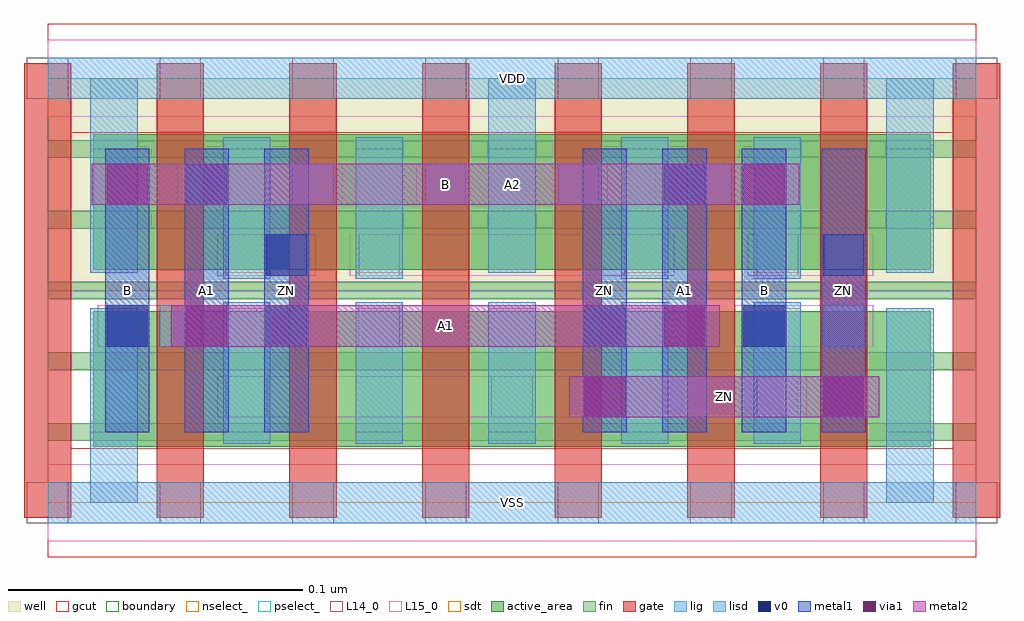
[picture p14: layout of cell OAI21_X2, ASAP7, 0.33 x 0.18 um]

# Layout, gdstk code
import gdstk
lib = gdstk.Library(unit=1e-6, precision=2.5e-10)
def R(c, l, rs):  # rectangles x0, y0, x1, y1
    for r in rs: c.add(gdstk.rectangle(r[:2], r[2:], *l))
def A(c, l, x, y, w, h, nx, ny, dx, dy):  # array of equal rectangles
    R(c, l, [(x+i*dx, y+j*dy, x+i*dx+w, y+j*dy+h) for i in range(nx) for j in range(ny)])
well = (1, 0)
fin = (2, 0)
gate = (7, 0)
gcut = (10, 0)
active_area = (11, 0)
nselect_ = (12, 0)
pselect_ = (13, 0)
L14_0 = (14, 0)
L15_0 = (15, 0)
lig = (16, 0)
lisd = (17, 0)
v0 = (18, 0)
metal1 = (19, 0)
metal2 = (20, 0)
via1 = (21, 0)
sdt = (88, 0)
boundary = (100, 0)

oai21_x2 = lib.new_cell('OAI21_X2')
R(oai21_x2, well, [(0,0.072,0.315,0.144)])
A(oai21_x2, fin, 0, 0.021, 0.315, 0.006, 1, 5, 0, 0.024)
A(oai21_x2, gate, -0.008, -0.005, 0.016, 0.154, 8, 1, 0.045, 0)
R(oai21_x2, gcut, [(0,-0.0185,0.315,0.0185), (-0.008,-0.005,0.008,0.149), (0.307,-0.005,0.323,0.149), (0,0.1255,0.315,0.1625)])
A(oai21_x2, active_area, 0.0155, 0.019, 0.059, 0.046, 6, 2, 0.045, 0.06)
R(oai21_x2, nselect_, [(0,0,0.315,0.072)])
R(oai21_x2, pselect_, [(0,0.072,0.315,0.144)])
A(oai21_x2, L14_0, -0.007, -0.007, 0.014, 0.014, 8, 2, 0.045, 0.144)
A(oai21_x2, L14_0, 0.0605, 0.029, 0.014, 0.014, 3, 1, 0.09, 0)
A(oai21_x2, L14_0, 0.083, 0.101, 0.014, 0.014, 4, 1, 0.045, 0)
R(oai21_x2, L14_0, [(0.038,0.053,0.052,0.067), (0.1055,0.053,0.1195,0.067), (0.1955,0.053,0.2095,0.067), (0.263,0.053,0.277,0.067), (0.0605,0.077,0.0745,0.091), (0.1055,0.077,0.1195,0.091), (0.1955,0.077,0.2095,0.091), (0.2405,0.077,0.2545,0.091)])
R(oai21_x2, L15_0, [(0,-0.013,0.315,0.013), (0.0575,0.029,0.2575,0.043), (0.017,0.053,0.055,0.067), (0.071,0.053,0.2125,0.067), (0.233,0.053,0.28,0.067), (0.0575,0.077,0.091,0.091), (0.1025,0.077,0.2125,0.091), (0.2375,0.077,0.28,0.091), (0.044,0.101,0.1,0.115), (0.125,0.101,0.19,0.115), (0.206,0.101,0.253,0.115), (0,0.131,0.315,0.157)])
A(oai21_x2, lig, 0.083, 0.101, 0.014, 0.014, 4, 1, 0.045, 0)
R(oai21_x2, lig, [(0,-0.007,0.315,0.007), (0.038,0.053,0.052,0.067), (0.263,0.053,0.277,0.067), (0,0.137,0.315,0.151)])
R(oai21_x2, lisd, [(0.0145,0,0.0305,0.066), (0.2845,0,0.3005,0.066), (0.0595,0.02,0.0755,0.068), (0.0595,0.02,0.0755,0.068), (0.1045,0.02,0.1205,0.068), (0.1045,0.02,0.1205,0.068), (0.1495,0.02,0.1655,0.068), (0.1495,0.02,0.1655,0.068), (0.1945,0.02,0.2105,0.068), (0.1945,0.02,0.2105,0.068), (0.2395,0.02,0.2555,0.068), (0.2395,0.02,0.2555,0.068), (0.0595,0.076,0.0755,0.124), (0.0595,0.076,0.0755,0.124), (0.1045,0.076,0.1205,0.124), (0.1045,0.076,0.1205,0.124), (0.1945,0.076,0.2105,0.124), (0.1945,0.076,0.2105,0.124), (0.2395,0.076,0.2555,0.124), (0.2395,0.076,0.2555,0.124), (0.0145,0.078,0.0305,0.144), (0.1495,0.078,0.1655,0.144), (0.1495,0.078,0.1655,0.144), (0.2845,0.078,0.3005,0.144)])
R(oai21_x2, v0, [(0.02,0.053,0.034,0.067), (0.074,0.053,0.088,0.067), (0.182,0.053,0.196,0.067), (0.236,0.053,0.25,0.067), (0.074,0.077,0.088,0.091), (0.263,0.077,0.277,0.091), (0.047,0.101,0.061,0.115), (0.209,0.101,0.223,0.115)])
A(oai21_x2, metal1, 0.0195, 0.024, 0.015, 0.096, 3, 1, 0.027, 0)
A(oai21_x2, metal1, 0.1815, 0.024, 0.015, 0.096, 4, 1, 0.027, 0)
R(oai21_x2, metal2, [(0.177,0.029,0.282,0.043), (0.042,0.053,0.228,0.067), (0.015,0.101,0.255,0.115)])
R(oai21_x2, via1, [(0.182,0.029,0.196,0.043), (0.263,0.029,0.277,0.043), (0.047,0.053,0.061,0.067), (0.209,0.053,0.223,0.067), (0.02,0.101,0.034,0.115), (0.236,0.101,0.25,0.115)])
R(oai21_x2, sdt, [(0.0145,0.024,0.0305,0.066), (0.0595,0.024,0.0755,0.066), (0.0595,0.024,0.0755,0.066), (0.1045,0.024,0.1205,0.066), (0.1045,0.024,0.1205,0.066), (0.1495,0.024,0.1655,0.066), (0.1495,0.024,0.1655,0.066), (0.1945,0.024,0.2105,0.066), (0.1945,0.024,0.2105,0.066), (0.2395,0.024,0.2555,0.066), (0.2395,0.024,0.2555,0.066), (0.2845,0.024,0.3005,0.066), (0.0145,0.078,0.0305,0.12), (0.0595,0.078,0.0755,0.12), (0.0595,0.078,0.0755,0.12), (0.1045,0.078,0.1205,0.12), (0.1045,0.078,0.1205,0.12), (0.1495,0.078,0.1655,0.12), (0.1495,0.078,0.1655,0.12), (0.1945,0.078,0.2105,0.12), (0.1945,0.078,0.2105,0.12), (0.2395,0.078,0.2555,0.12), (0.2395,0.078,0.2555,0.12), (0.2845,0.078,0.3005,0.12)])
R(oai21_x2, boundary, [(0,0,0.315,0.144)])
oai21_x2.add(gdstk.Label('VDD', (0.1575,0.144), layer=1, texttype=251))
oai21_x2.add(gdstk.Label('VSS', (0.1575,0), layer=3, texttype=251))
oai21_x2.add(gdstk.Label('A2', (0.1575,0.108), layer=15, texttype=251))
oai21_x2.add(gdstk.Label('VSS', (0.1575,0), layer=15, texttype=251))
oai21_x2.add(gdstk.Label('VDD', (0.1575,0.144), layer=15, texttype=251))
oai21_x2.add(gdstk.Label('B', (0.027,0.072), layer=19, texttype=251))
oai21_x2.add(gdstk.Label('A1', (0.054,0.072), layer=19, texttype=251))
oai21_x2.add(gdstk.Label('ZN', (0.081,0.072), layer=19, texttype=251))
oai21_x2.add(gdstk.Label('ZN', (0.189,0.072), layer=19, texttype=251))
oai21_x2.add(gdstk.Label('A1', (0.216,0.072), layer=19, texttype=251))
oai21_x2.add(gdstk.Label('B', (0.243,0.072), layer=19, texttype=251))
oai21_x2.add(gdstk.Label('ZN', (0.27,0.072), layer=19, texttype=251))
oai21_x2.add(gdstk.Label('ZN', (0.2295,0.036), layer=20, texttype=251))
oai21_x2.add(gdstk.Label('A1', (0.135,0.06), layer=20, texttype=251))
oai21_x2.add(gdstk.Label('B', (0.135,0.108), layer=20, texttype=251))

lib.write_gds('OAI21_X2.gds')
